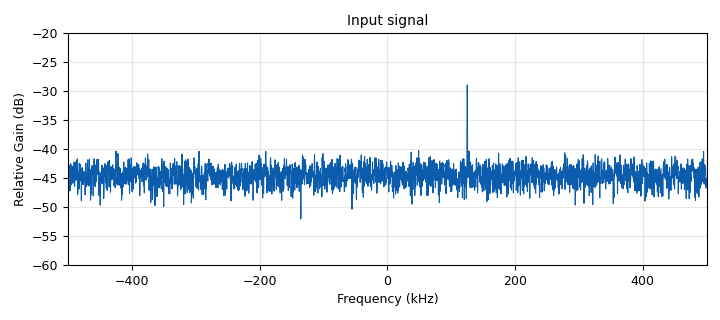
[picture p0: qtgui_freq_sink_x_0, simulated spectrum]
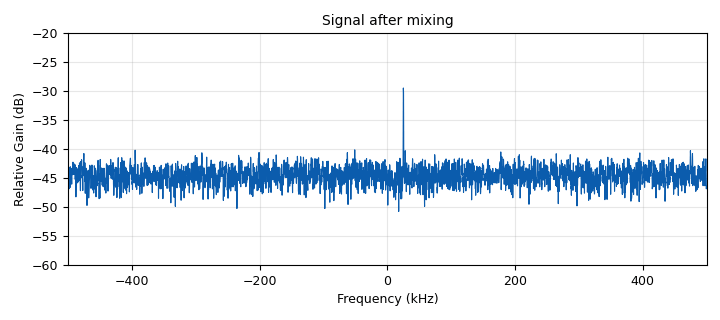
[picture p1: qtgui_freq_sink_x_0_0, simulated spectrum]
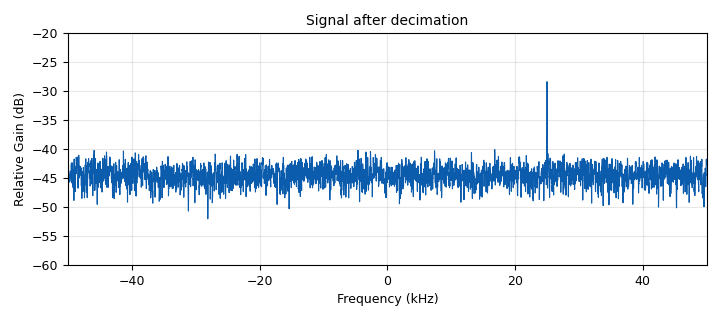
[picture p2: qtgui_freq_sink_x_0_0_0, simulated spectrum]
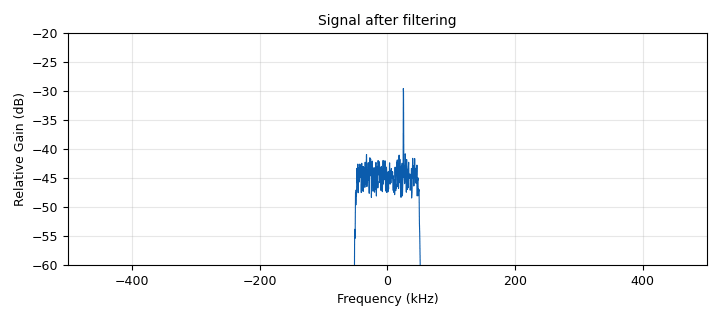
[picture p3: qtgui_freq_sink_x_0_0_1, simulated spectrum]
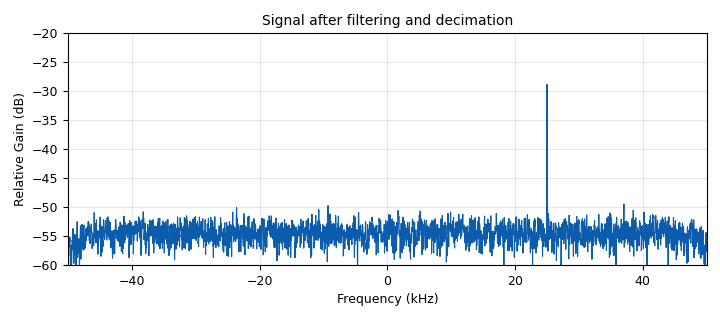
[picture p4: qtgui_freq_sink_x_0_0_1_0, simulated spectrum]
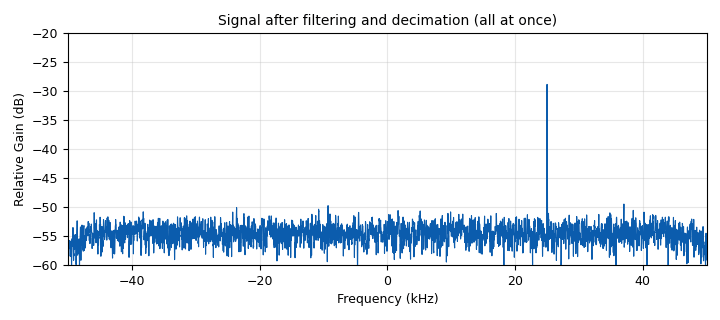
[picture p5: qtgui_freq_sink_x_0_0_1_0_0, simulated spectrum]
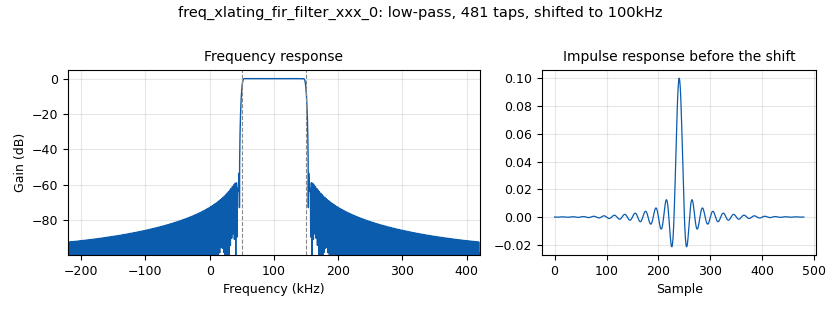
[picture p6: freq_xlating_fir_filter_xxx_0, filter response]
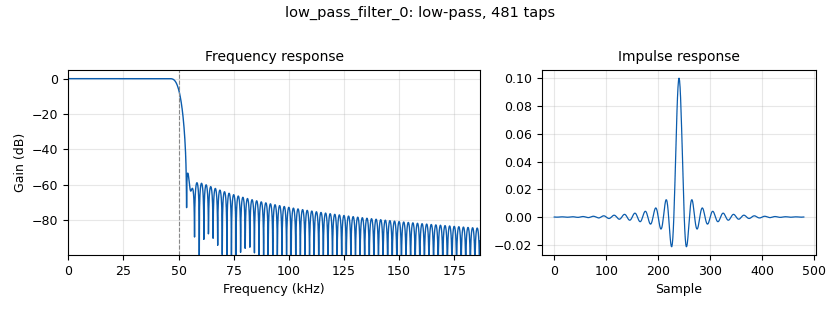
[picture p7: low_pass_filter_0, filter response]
options:
  parameters:
    author: Daniel Estevez
    generate_options: qt_gui
    id: filtering
    output_language: python
    title: Digital filters demo
  states: {}

blocks:
- name: decimation
  id: variable
  parameters:
    value: '10'
  states: {}
- name: filter_taps
  id: variable_low_pass_filter_taps
  parameters:
    cutoff_freq: 0.5 * samp_rate / decimation
    gain: '1.0'
    samp_rate: samp_rate
    width: 0.05 * samp_rate / decimation
    win: window.WIN_HAMMING
  states: {}
- name: samp_rate
  id: variable
  parameters:
    value: '1_000_000'
  states: {}
- name: signal_frequency
  id: variable_qtgui_entry
  parameters:
    label: Signal Frequency (Hz)
    type: real
    value: 125e3
  states: {}
- name: tune_frequency
  id: variable_qtgui_entry
  parameters:
    label: Tune Frequency (Hz)
    type: real
    value: 100e3
  states: {}
- name: analog_noise_source_x_0
  id: analog_noise_source_x
  parameters:
    amp: '1'
    noise_type: analog.GR_GAUSSIAN
    seed: '0'
    type: complex
  states: {}
- name: analog_sig_source_x_0
  id: analog_sig_source_x
  parameters:
    amp: '0.1'
    freq: signal_frequency
    offset: '0'
    phase: '0'
    samp_rate: samp_rate
    type: complex
    waveform: analog.GR_COS_WAVE
  states: {}
- name: analog_sig_source_x_1
  id: analog_sig_source_x
  parameters:
    amp: '1'
    freq: tune_frequency
    offset: '0'
    phase: '0'
    samp_rate: samp_rate
    type: complex
    waveform: analog.GR_COS_WAVE
  states: {}
- name: blocks_add_xx_0
  id: blocks_add_xx
  parameters:
    type: complex
  states: {}
- name: blocks_keep_one_in_n_0
  id: blocks_keep_one_in_n
  parameters:
    n: decimation
    type: complex
  states: {}
- name: blocks_keep_one_in_n_0_0
  id: blocks_keep_one_in_n
  parameters:
    n: decimation
    type: complex
  states: {}
- name: blocks_multiply_conjugate_cc_0
  id: blocks_multiply_conjugate_cc
  parameters: {}
  states: {}
- name: blocks_throttle2_0
  id: blocks_throttle2
  parameters:
    samples_per_second: samp_rate
    type: complex
  states: {}
- name: freq_xlating_fir_filter_xxx_0
  id: freq_xlating_fir_filter_xxx
  parameters:
    center_freq: tune_frequency
    decim: decimation
    samp_rate: samp_rate
    taps: filter_taps
    type: ccf
  states: {}
- name: low_pass_filter_0
  id: low_pass_filter
  parameters:
    cutoff_freq: 0.5 * samp_rate / decimation
    decim: '1'
    gain: '1'
    samp_rate: samp_rate
    type: fir_filter_ccf
    width: 0.05 * samp_rate / decimation
    win: window.WIN_HAMMING
  states: {}
- name: low_pass_filter_0_0
  id: low_pass_filter
  parameters:
    cutoff_freq: 0.5 * samp_rate / decimation
    decim: decimation
    gain: '1'
    samp_rate: samp_rate
    type: fir_filter_ccf
    width: 0.05 * samp_rate / decimation
    win: window.WIN_HAMMING
  states: {state: disabled}
- name: qtgui_freq_sink_x_0
  id: qtgui_freq_sink_x
  parameters:
    average: '0.1'
    bw: samp_rate
    fc: '0'
    fftsize: '4096'
    gui_hint: 0,0
    name: Input signal
    type: complex
    ymax: '-20'
    ymin: '-60'
  states: {}
- name: qtgui_freq_sink_x_0_0
  id: qtgui_freq_sink_x
  parameters:
    average: '0.1'
    bw: samp_rate
    fc: '0'
    fftsize: '4096'
    gui_hint: 0,1
    name: Signal after mixing
    type: complex
    ymax: '-20'
    ymin: '-60'
  states: {}
- name: qtgui_freq_sink_x_0_0_0
  id: qtgui_freq_sink_x
  parameters:
    average: '0.1'
    bw: samp_rate / decimation
    fc: '0'
    fftsize: '4096'
    gui_hint: 0,2
    name: Signal after decimation
    type: complex
    ymax: '-20'
    ymin: '-60'
  states: {}
- name: qtgui_freq_sink_x_0_0_1
  id: qtgui_freq_sink_x
  parameters:
    average: '0.1'
    bw: samp_rate
    fc: '0'
    fftsize: '4096'
    gui_hint: 1,0
    name: Signal after filtering
    type: complex
    ymax: '-20'
    ymin: '-60'
  states: {}
- name: qtgui_freq_sink_x_0_0_1_0
  id: qtgui_freq_sink_x
  parameters:
    average: '0.1'
    bw: samp_rate / decimation
    fc: '0'
    fftsize: '4096'
    gui_hint: 1,1
    name: Signal after filtering and decimation
    type: complex
    ymax: '-20'
    ymin: '-60'
  states: {}
- name: qtgui_freq_sink_x_0_0_1_0_0
  id: qtgui_freq_sink_x
  parameters:
    average: '0.1'
    bw: samp_rate / decimation
    fc: '0'
    fftsize: '4096'
    gui_hint: 1,2
    name: Signal after filtering and decimation (all at once)
    type: complex
    ymax: '-20'
    ymin: '-60'
  states: {}

connections:
- [analog_noise_source_x_0, '0', blocks_add_xx_0, '1']
- [analog_sig_source_x_0, '0', blocks_add_xx_0, '0']
- [analog_sig_source_x_1, '0', blocks_multiply_conjugate_cc_0, '1']
- [blocks_add_xx_0, '0', blocks_throttle2_0, '0']
- [blocks_keep_one_in_n_0, '0', qtgui_freq_sink_x_0_0_0, '0']
- [blocks_keep_one_in_n_0_0, '0', qtgui_freq_sink_x_0_0_1_0, '0']
- [blocks_multiply_conjugate_cc_0, '0', blocks_keep_one_in_n_0, '0']
- [blocks_multiply_conjugate_cc_0, '0', low_pass_filter_0, '0']
- [blocks_multiply_conjugate_cc_0, '0', low_pass_filter_0_0, '0']
- [blocks_multiply_conjugate_cc_0, '0', qtgui_freq_sink_x_0_0, '0']
- [blocks_throttle2_0, '0', blocks_multiply_conjugate_cc_0, '0']
- [blocks_throttle2_0, '0', freq_xlating_fir_filter_xxx_0, '0']
- [blocks_throttle2_0, '0', qtgui_freq_sink_x_0, '0']
- [freq_xlating_fir_filter_xxx_0, '0', qtgui_freq_sink_x_0_0_1_0_0, '0']
- [low_pass_filter_0, '0', blocks_keep_one_in_n_0_0, '0']
- [low_pass_filter_0, '0', qtgui_freq_sink_x_0_0_1, '0']
- [low_pass_filter_0_0, '0', qtgui_freq_sink_x_0_0_1_0_0, '0']

metadata:
  file_format: 1
  grc_version: 3.10.12.0
